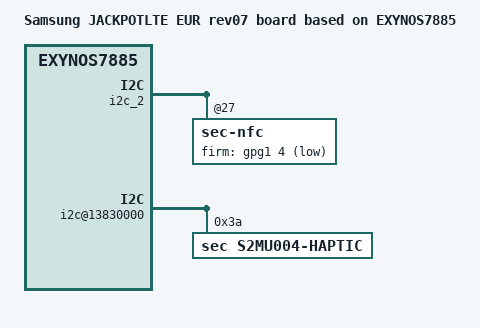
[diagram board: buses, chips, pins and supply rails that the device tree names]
/*
 * SAMSUNG UNIVERSAL7885 board device tree source
 *
 * Copyright (c) 2013 Samsung Electronics Co., Ltd.
 *		http://www.samsung.com
 *
 * This program is free software; you can redistribute it and/or modify
 * it under the terms of the GNU General Public License version 2 as
 * published by the Free Software Foundation.
*/

/dts-v1/;
#include "exynos7885-jackpotlte_common.dtsi"
//#include "exynos7885-jackpotlte_fingerprint-sensor_00.dtsi"
#include "exynos7885-jackpotlte_eur_open_gpio_07.dtsi"
#include "exynos7885-jackpotlte_mst_02.dtsi"
#include "exynos7885-jackpotlte_svcled.dtsi"

/ {
	model = "Samsung JACKPOTLTE EUR rev07 board based on EXYNOS7885";
	model_info-chip = <7885>;
	model_info-platform = "android";
	model_info-subtype = "samsung";
	model_info-hw_rev = <7>;
	model_info-hw_rev_end = <255>;
	compatible = "samsung, JACKPOTLTE EUR rev07", "samsung,Universal7885";

	pinctrl@139B0000 {
		nfc_pvdd_en: nfc_pvdd_en {
				samsung,pins = "gpg1-5";
				samsung,pin-function = <1>;
				samsung,pin-pud = <0>;
				samsung,pin-val = <0>;
				samsung,pin-con-pdn = <3>;
				samsung,pin-pud-pdn = <0>;
		};

		nfc_firm: nfc_firm {
			samsung,pins = "gpg1-4";
			samsung,pin-function = <1>;
			samsung,pin-pud = <0>;
			samsung,pin-val = <0>;
			samsung,pin-con-pdn = <3>;
			samsung,pin-pud-pdn = <0>;
		};
	};

	i2c_2: i2c@13850000 {
		sec-nfc@27 {
			sec-nfc,firm-gpio = <&gpg1 4 1>;
			sec-nfc,pvdd_en = <&gpg1 5 1>;
			pinctrl-names = "default";
			pinctrl-0 = <&nfc_pd &nfc_firm &nfc_int &nfc_clk &nfc_pvdd_en &nfc_clk_req>;
		};
	};
	
	/* USIM DETECTION FOR CP */
	usim_det {
		pinctrl-names = "default";
		pinctrl-0 = <&sim0_det_gpio &sim1_det_gpio>;
		mif,num_of_usim_det = <2>;
		mif,usim-det0-gpio = <&gpa2 6 0>;
		mif,usim-det1-gpio = <&gpa2 5 0>;
	};

	/* motor control type :  1 = IFPMIC */
	/*				2 = Mot driving IC */
	motor {
		motor,motor_type = <1>;
	};

	pinctrl@139B0000 {
		motor_pwm: motor_pwm {
			samsung,pins = "gpg0-1";
			samsung,pin-function = <2>;
			samsung,pin-pud = <1>;
			samsung,pin-drv = <0>;
		};
	};

	i2c@13830000 {
		s2mu004-haptic@3A {
			compatible = "sec,s2mu004-haptic";
			reg = <0x3A>;
			pinctrl-names = "default";
			pinctrl-0 = <&motor_pwm>;
			
		};
	};
};
